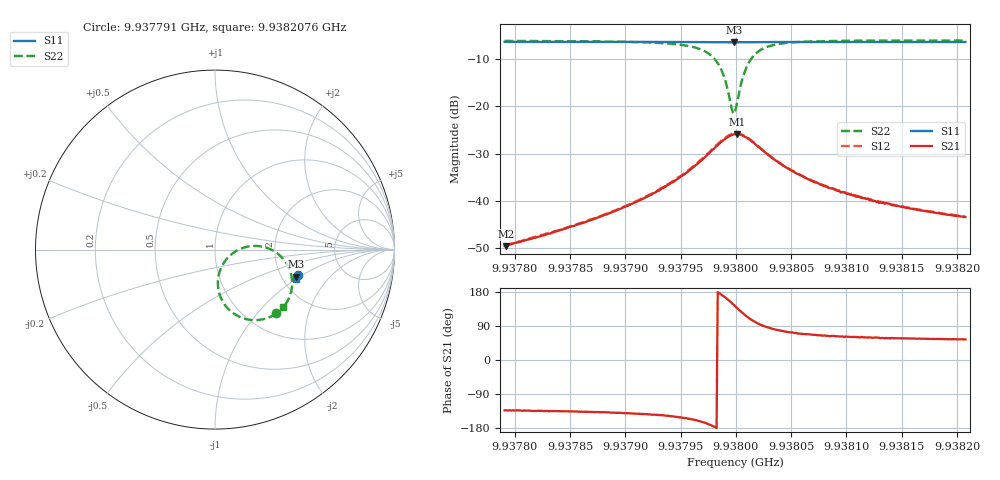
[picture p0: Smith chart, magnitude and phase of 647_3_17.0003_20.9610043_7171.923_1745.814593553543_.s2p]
#  HZ  S  RI  R  50.00
! Rohde & Schwarz Vector Network Analyzer
! Rohde-Schwarz,ZNB20-2Port,1311601062101988,3.16
! Created: UTC 3/20/2024, 11:21:06 PM
! freq[Hz]  re:S11  im:S11  re:S21  im:S21  re:S12  im:S12  re:S22  im:S22
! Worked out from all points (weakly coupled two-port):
!   401 points, 9.937791 GHz to 9.9382076 GHz, reference 50 ohm
!   highest |S21| = -25.88 dB at 9.9380013 GHz (marker M1); lowest = -49.6 dB at 9.937792 GHz (marker M2)
!   lowest |S11| = -6.5 dB at 9.9379982 GHz (marker M3), VSWR 2.81, Z = 119 - j46.5 ohm
!   |S11| at or under -10 dB: nowhere
!   |S22| runs from -21.6 to -6.1 dB; largest |S21 - S12| = 0.0022
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9.93779096e9  0.4605 -0.1406  -0.00226 -0.00243  -0.00231 -0.00246  0.3416 -0.3556
9.93779201e9  0.4604 -0.1406  -0.00225 -0.00244  -0.00239 -0.00244  0.3414 -0.3558
9.93786074e9  0.4586 -0.1454  -0.00418 -0.00401  -0.00432 -0.00397  0.3205 -0.3686
9.93789928e9  0.4574 -0.1482  -0.0066 -0.00552  -0.00679 -0.0055  0.2973 -0.3792
9.93793052e9  0.4561 -0.1505  -0.0106 -0.00725  -0.0109 -0.00733  0.2605 -0.3897
9.93796177e9  0.4541 -0.1528  -0.021 -0.00874  -0.0217 -0.00852  0.1725 -0.3871
9.93797843e9  0.452 -0.1537  -0.0339 -0.0039  -0.0348 -0.0035  0.0746 -0.3306
9.93798781e9  0.4505 -0.1534  -0.0424 0.00666  -0.0436 0.00805  0.0203 -0.2292
9.93799093e9  0.4501 -0.1528  -0.0442 0.0126  -0.0451 0.0141  0.0161 -0.1791
9.93799614e9  0.4498 -0.1518  -0.0434 0.0241  -0.0438 0.0262  0.0413 -0.0869
9.93799822e9  0.4497 -0.1513  -0.0415 0.0288  -0.0416 0.0309  0.0646 -0.0529
9.93799926e9  0.4499 -0.1511  -0.0401 0.0309  -0.0402 0.033  0.0793 -0.0372
9.93800135e9  0.4501 -0.1506  -0.037 0.0349  -0.0365 0.0369  0.1116 -0.0117
9.93800551e9  0.4508 -0.1502  -0.0288 0.0401  -0.0278 0.0419  0.1865 0.0177
9.93800864e9  0.4516 -0.1499  -0.0222 0.042  -0.0209 0.0434  0.2417 0.0198
9.9380128e9  0.4523 -0.1502  -0.0141 0.0417  -0.013 0.0428  0.3044 0.004
9.93801905e9  0.4533 -0.1507  -0.00523 0.0381  -0.00412 0.0385  0.3685 -0.0394
9.93803572e9  0.4543 -0.1529  0.00454 0.0265  0.00505 0.0266  0.4261 -0.1466
9.93806904e9  0.454 -0.1564  0.0064 0.015  0.00679 0.0149  0.4219 -0.2432
9.93810237e9  0.4531 -0.1589  0.00576 0.0103  0.00579 0.0104  0.4076 -0.2799
9.93813882e9  0.452 -0.1617  0.00491 0.00787  0.00503 0.00784  0.3958 -0.3002
9.93820756e9  0.4502 -0.1663  0.00392 0.00546  0.00408 0.00548  0.3814 -0.3203
